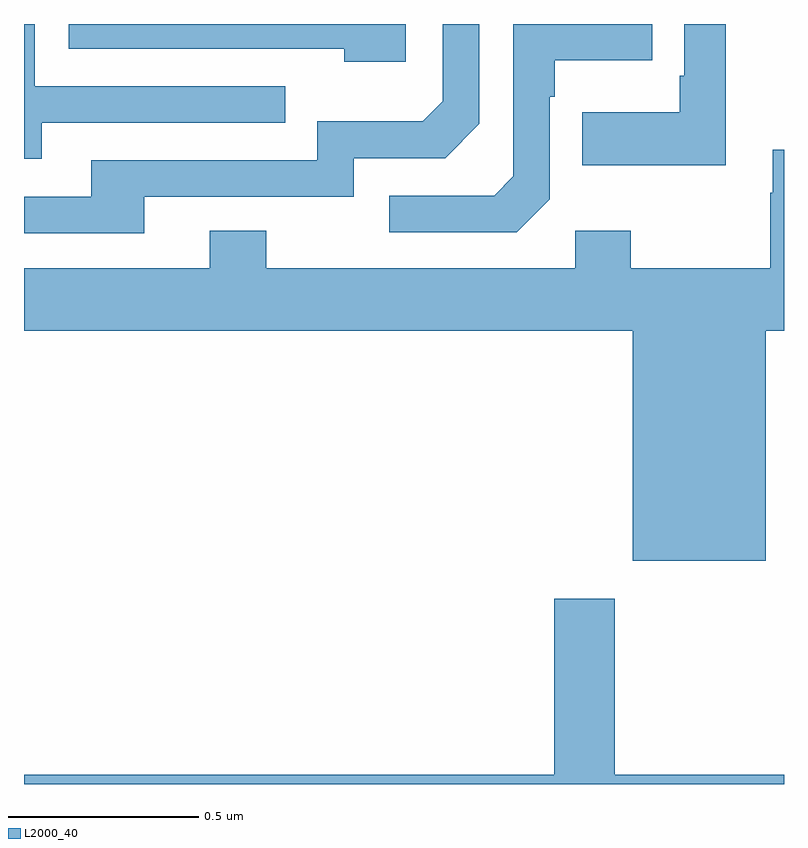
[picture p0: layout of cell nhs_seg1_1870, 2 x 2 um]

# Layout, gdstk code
import gdstk
lib = gdstk.Library(unit=1e-6, precision=1e-09)
def P(c, l, *ps):  # polygons
    for p in ps: c.add(gdstk.Polygon(p, *l))
L2000_40 = (2000, 40)

nhs_seg1_1870 = lib.new_cell('nhs_seg1_1870')
P(nhs_seg1_1870, L2000_40, [(135.384,558.738),(135.384,559.007),(135.397,559.007),(135.397,559.103),(135.653,559.103),(135.653,559.199),(135.288,559.199),(135.288,558.798),(135.237,558.747),(134.961,558.747),(134.961,558.651),(135.297,558.651)],
  [(135.847,559.199),(135.738,559.199),(135.738,559.063),(135.726,559.063),(135.726,558.967),(135.469,558.967),(135.469,558.827),(135.847,558.827)],
  [(134.317,558.744),(134.868,558.744),(134.868,558.846),(135.108,558.846),(135.198,558.936),(135.198,559.199),(135.102,559.199),(135.102,558.996),(135.049,558.943),(134.772,558.943),(134.772,558.84),(134.177,558.84),(134.177,558.744),(134,558.744),(134,558.648),(134.317,558.648)],
  [(134.047,558.939),(134.687,558.939),(134.687,559.035),(134.028,559.035),(134.028,559.199),(134,559.199),(134,558.845),(134.047,558.845)],
  [(135.004,559.199),(134.118,559.199),(134.118,559.134),(134.843,559.134),(134.843,559.1),(135.004,559.1)],
  [(135.952,558.392),(136,558.392),(136,558.868),(135.971,558.868),(135.971,558.755),(135.964,558.755),(135.964,558.556),(135.597,558.556),(135.597,558.655),(135.45,558.655),(135.45,558.556),(134.637,558.556),(134.637,558.655),(134.489,558.655),(134.489,558.556),(134,558.556),(134,558.392),(135.602,558.392),(135.602,557.786),(135.952,557.786)],
  [(136,557.224),(135.555,557.224),(135.555,557.686),(135.395,557.686),(135.395,557.224),(134,557.224),(134,557.199),(136,557.199)])

lib.write_gds('nhs_seg1_1870.gds')
